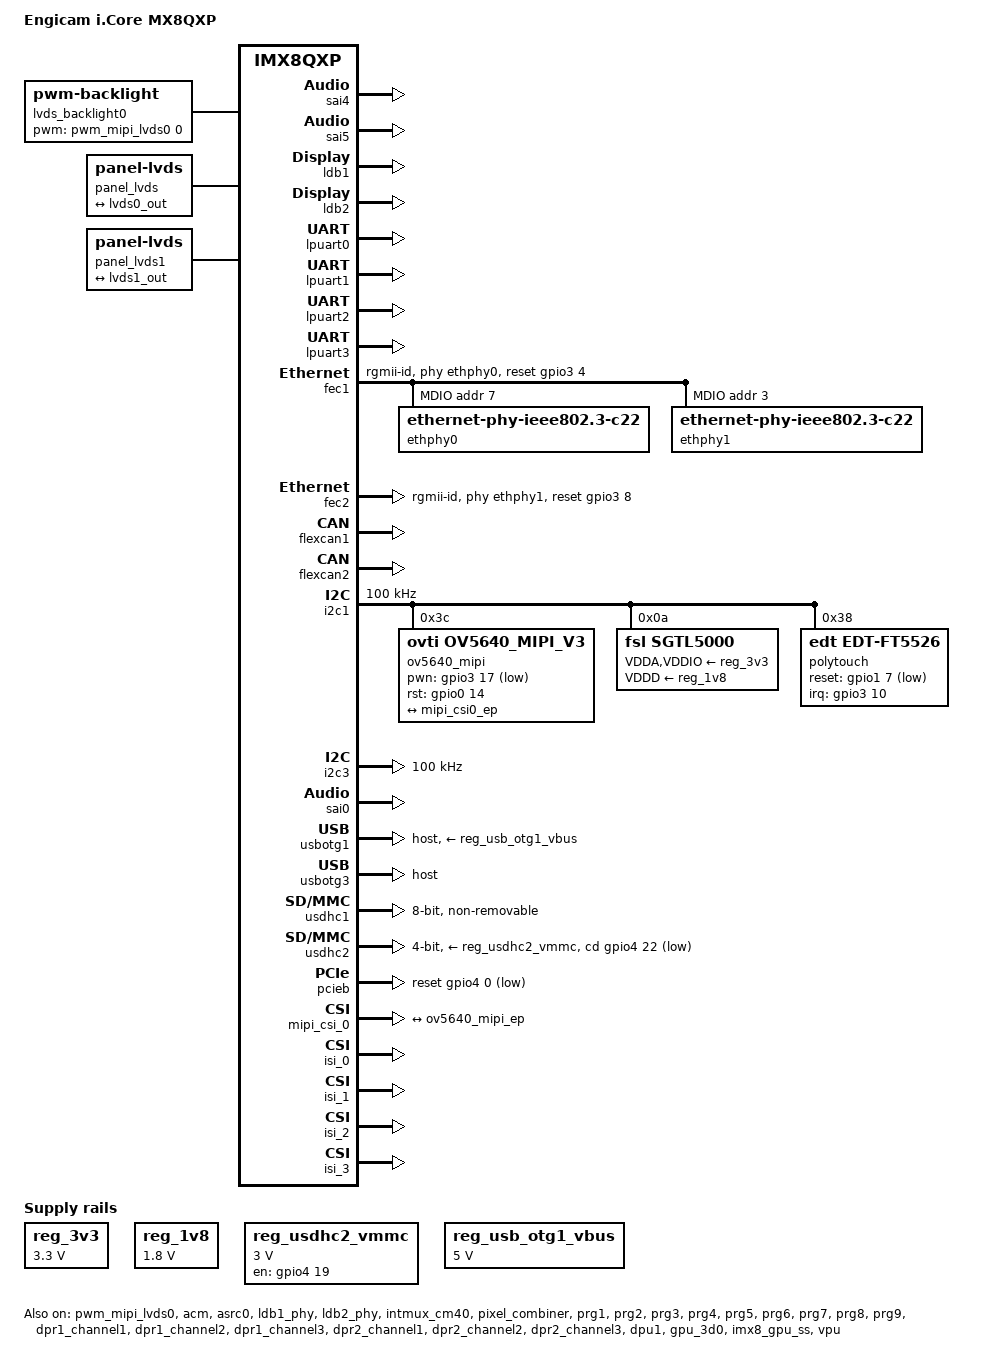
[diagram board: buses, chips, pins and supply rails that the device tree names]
/*
 * Copyright 2017 NXP
 *
 * This program is free software; you can redistribute it and/or
 * modify it under the terms of the GNU General Public License
 * as published by the Free Software Foundation; either version 2
 * of the License, or (at your option) any later version.
 *
 * This program is distributed in the hope that it will be useful,
 * but WITHOUT ANY WARRANTY; without even the implied warranty of
 * MERCHANTABILITY or FITNESS FOR A PARTICULAR PURPOSE.  See the
 * GNU General Public License for more details.
 */

/dts-v1/;

#include "../freescale/fsl-imx8qxp.dtsi"

/ {
	model = "Engicam i.Core MX8QXP";
	compatible = "engi,imx8qxp-icore", "fsl,imx8qxp-mek", "fsl,imx8qxp";

	chosen {
		bootargs = "console=ttyLP0,115200 earlycon=lpuart32,0x5a060000,115200";
		stdout-path = &lpuart0;
	};
  
	lvds_backlight0: lvds_backlight@0 {
		compatible = "pwm-backlight";
		pwms = <&pwm_mipi_lvds0 0 100000 0>;
		brightness-levels = <0 4 8 16 32 64 128 255>;
		default-brightness-level = <6>;
	};
    
	bcmdhd_wlan_0: bcmdhd_wlan@0 {
		compatible = "android,bcmdhd_wlan";
		bcmdhd_fw = "/lib/firmware/bcm/1FD_BCM89359/fw_bcmdhd.bin";
		bcmdhd_nv = "/lib/firmware/bcm/1FD_BCM89359/bcmdhd.cal";
	};

	regulators {
		compatible = "simple-bus";
		#address-cells = <1>;
		#size-cells = <0>;

		reg_3v3: regulator-3v3 {
			compatible = "regulator-fixed";
			regulator-name = "3v3";
			regulator-min-microvolt = <3300000>;
			regulator-max-microvolt = <3300000>;
			regulator-always-on;
		};

		reg_1v8: regulator-1v8 {
			compatible = "regulator-fixed";
			regulator-name = "1v8";
			regulator-min-microvolt = <1800000>;
			regulator-max-microvolt = <1800000>;
			regulator-always-on;
		};

		reg_usdhc2_vmmc: usdhc2_vmmc {
			compatible = "regulator-fixed";
			regulator-name = "SD1_SPWR";
			regulator-min-microvolt = <3000000>;
			regulator-max-microvolt = <3000000>;
			gpio = <&gpio4 19 GPIO_ACTIVE_HIGH>;
			enable-active-high;
		};

		reg_usb_otg1_vbus: regulator@0 {
			compatible = "regulator-fixed";
			reg = <0>;
			regulator-name = "usb_otg1_vbus";
			regulator-min-microvolt = <5000000>;
			regulator-max-microvolt = <5000000>;
			regulator-always-on;
		};

	};

  sound {
        compatible = "simple-audio-card";
        simple-audio-card,name = "imx8qxp-sgtl5000";
        simple-audio-card,format = "i2s";
        simple-audio-card,bitclock-master = <&dailink_master>;
        simple-audio-card,frame-master = <&dailink_master>;
        /*simple-audio-card,mclk-fs = <1>;*/
        simple-audio-card,cpu {
                sound-dai = <&sai0>;
        };

        dailink_master: simple-audio-card,codec {
            sound-dai = <&sgtl5000>;
    		clocks = <&clk IMX8QXP_AUD_MCLKOUT0>;
        };   
    };

	sound-amix-sai {
		compatible = "fsl,imx-audio-amix";
		model = "amix-audio-sai";
		dais = <&sai4>, <&sai5>;
		amix-controller = <&amix>;
	};

	panel_lvds: panel-lvds {
		compatible = "panel-lvds";

		width-mm = <210>;
		height-mm = <158>;
		data-mapping = "vesa-24";
		status = "okay";

		panel-timing {
			/* 1024x600 @65Hz */
			clock-frequency = <65000000>;
			hactive = <1024>;
			vactive = <600>;
			hsync-len = <136>;
			hfront-porch = <20>;
			hback-porch = <160>;
			vfront-porch = <3>;
			vback-porch = <29>;
			vsync-len = <6>;
		};

		port {
			panel_in_lvds: endpoint {
				remote-endpoint = <&lvds0_out>;
			};
		};
	};

	panel_lvds1: panel-lvds1 {
		compatible = "panel-lvds";

		width-mm = <210>;
		height-mm = <158>;
		data-mapping = "jeida-24";
		status = "okay";

		panel-timing {
			/* 1024x800 @65Hz */
			clock-frequency = <65000000>;
			hactive = <1024>;
			vactive = <800>;
			hsync-len = <136>;
			hfront-porch = <20>;
			hback-porch = <160>;
			vfront-porch = <3>;
			vback-porch = <29>;
			vsync-len = <6>;
		};

		port {
			panel_in_lvds1: endpoint {
				remote-endpoint = <&lvds1_out>;
			};
		};
	};

};

&pwm_mipi_lvds0 {
	pinctrl-names = "default";
	pinctrl-0 = <&pinctrl_pwm_mipi_lvds0>;
	status = "okay";
};

&acm {
	status = "okay";
};

&amix {
	status = "disabled";    // TBD MM da capire
};

&asrc0 {
	fsl,asrc-rate  = <48000>;
	status = "okay";
};

&sai4 {
	assigned-clocks = <&clk IMX8QXP_ACM_SAI4_MCLK_SEL>,
			<&clk IMX8QXP_AUD_PLL1_DIV>,
			<&clk IMX8QXP_AUD_ACM_AUD_PLL_CLK1_DIV>,
			<&clk IMX8QXP_AUD_ACM_AUD_REC_CLK1_DIV>,
			<&clk IMX8QXP_AUD_SAI_4_MCLK>;
	assigned-clock-parents = <&clk IMX8QXP_AUD_ACM_AUD_PLL_CLK1_CLK>;
	assigned-clock-rates = <0>, <786432000>, <98304000>, <12288000>, <98304000>;
	fsl,sai-asynchronous;
	fsl,txm-rxs;
	status = "okay";
};

&sai5 {
	assigned-clocks = <&clk IMX8QXP_ACM_SAI5_MCLK_SEL>,
			<&clk IMX8QXP_AUD_PLL1_DIV>,
			<&clk IMX8QXP_AUD_ACM_AUD_PLL_CLK1_DIV>,
			<&clk IMX8QXP_AUD_ACM_AUD_REC_CLK1_DIV>,
			<&clk IMX8QXP_AUD_SAI_5_MCLK>;
	assigned-clock-parents = <&clk IMX8QXP_AUD_ACM_AUD_PLL_CLK1_CLK>;
	assigned-clock-rates = <0>, <786432000>, <98304000>, <12288000>, <98304000>;
	fsl,sai-asynchronous;
	fsl,txm-rxs;
	status = "okay";
};

&ldb1_phy {
	status = "okay";
};

&ldb1 {
	status = "okay";
   	pinctrl-assert-gpios = <&gpio1 27 GPIO_ACTIVE_HIGH>;
	power-domains = <&pd_mipi_dsi_0_dual_lvds>;


	lvds-channel@0 {
		fsl,data-mapping = "spwg";
		fsl,data-width = <24>;
		status = "okay";

		port@1 {
			reg = <1>;

			lvds0_out: endpoint {
                remote-endpoint = <&panel_in_lvds>;
			};
		};
	};
};

&ldb2_phy {
	status = "okay";
};

&ldb2 {
	status = "okay";
   	pinctrl-assert-gpios = <&gpio1 31 GPIO_ACTIVE_HIGH>;


	lvds-channel@0 {
		fsl,data-mapping = "jeida";
		fsl,data-width = <24>;
		status = "okay";

		port@1 {
			reg = <1>;

			lvds1_out: endpoint {
				remote-endpoint = <&panel_in_lvds1>;
			};
		};
	};
};

&iomuxc {
	pinctrl-names = "default";
	pinctrl-0 = <&pinctrl_hog>;

	imx8qxp-mek {

    pinctrl_mipi_csi0: mipicsi0grp{
			fsl,pins = <
				//SC_P_MIPI_CSI0_MCLK_OUT_MIPI_CSI0_ACM_MCLK_OUT	0xC0000041
				SC_P_SPI3_SDO_LSIO_GPIO0_IO14		0xC0000041
				SC_P_QSPI0B_SCLK_LSIO_GPIO3_IO17		0xC0000041
			>;
		};    
    
		pinctrl_hog: hoggrp {
			fsl,pins = <
				SC_P_MCLK_OUT0_ADMA_ACM_MCLK_OUT0	0x0600004c
       // SC_P_MIPI_DSI0_GPIO0_00_LSIO_GPIO1_IO27 0x06000020 /* backligth LVDS0 */
        SC_P_MIPI_DSI1_GPIO0_00_LSIO_GPIO1_IO31 0x06000020 /* backligth LVDS1 */
        SC_P_MIPI_CSI0_MCLK_OUT_LSIO_GPIO3_IO04 0x06000020 /* RGMII reset */
        SC_P_MIPI_CSI0_GPIO0_00_LSIO_GPIO3_IO08 0x06000020 /* TDB MM RGMII2 reset */
        SC_P_QSPI0B_DATA3_LSIO_GPIO3_IO21 0x06000020 /* TDB MM USB HUB reset */
			>;
		};

		pinctrl_touch1: touch1_intgrp {
			fsl,pins = <
				SC_P_QSPI0A_DATA1_LSIO_GPIO3_IO10	0x06000020
				SC_P_SPI0_CS1_LSIO_GPIO1_IO07 		0x06000020
			>;
		};

		pinctrl_csi0_lpi2c0: csi0lpi2c0grp {
			fsl,pins = <
				SC_P_MIPI_CSI0_I2C0_SCL_MIPI_CSI0_I2C0_SCL	0xc2000020
				SC_P_MIPI_CSI0_I2C0_SDA_MIPI_CSI0_I2C0_SDA	0xc2000020
			>;
		};

		pinctrl_lpuart0: lpuart0grp {
			fsl,pins = <
				SC_P_UART0_RX_ADMA_UART0_RX	0x06000020
				SC_P_UART0_TX_ADMA_UART0_TX	0x06000020
			>;
		};

		pinctrl_lpuart1: lpuart1grp {
			fsl,pins = <
				SC_P_UART1_TX_ADMA_UART1_TX		0x06000020
				SC_P_UART1_RX_ADMA_UART1_RX		0x06000020
				SC_P_UART1_RTS_B_ADMA_UART1_RTS_B	0x06000020
				SC_P_UART1_CTS_B_ADMA_UART1_CTS_B	0x06000020
			>;
		};

		pinctrl_lpuart2: lpuart2grp {
			fsl,pins = <
				SC_P_UART2_TX_ADMA_UART2_TX	0x06000020
				SC_P_UART2_RX_ADMA_UART2_RX	0x06000020
			>;
		};

		pinctrl_lpuart3: lpuart3grp {
			fsl,pins = <
				SC_P_FLEXCAN2_TX_ADMA_UART3_TX	0x06000020
				SC_P_FLEXCAN2_RX_ADMA_UART3_RX	0x06000020
			>;
		};

		pinctrl_fec1: fec1grp {
			fsl,pins = <
				SC_P_ENET0_MDC_CONN_ENET0_MDC			0x06000020
				SC_P_ENET0_MDIO_CONN_ENET0_MDIO			0x06000020
				SC_P_ENET0_RGMII_TX_CTL_CONN_ENET0_RGMII_TX_CTL	0x06000020
				SC_P_ENET0_RGMII_TXC_CONN_ENET0_RGMII_TXC	0x06000020
				SC_P_ENET0_RGMII_TXD0_CONN_ENET0_RGMII_TXD0	0x06000020
				SC_P_ENET0_RGMII_TXD1_CONN_ENET0_RGMII_TXD1	0x06000020
				SC_P_ENET0_RGMII_TXD2_CONN_ENET0_RGMII_TXD2	0x06000020
				SC_P_ENET0_RGMII_TXD3_CONN_ENET0_RGMII_TXD3	0x06000020
				SC_P_ENET0_RGMII_RXC_CONN_ENET0_RGMII_RXC	0x06000020
				SC_P_ENET0_RGMII_RX_CTL_CONN_ENET0_RGMII_RX_CTL	0x06000020
				SC_P_ENET0_RGMII_RXD0_CONN_ENET0_RGMII_RXD0	0x06000020
				SC_P_ENET0_RGMII_RXD1_CONN_ENET0_RGMII_RXD1	0x06000020
				SC_P_ENET0_RGMII_RXD2_CONN_ENET0_RGMII_RXD2	0x06000020
				SC_P_ENET0_RGMII_RXD3_CONN_ENET0_RGMII_RXD3	0x06000020
			>;
		};

		pinctrl_fec2: fec2grp {
			fsl,pins = <
				SC_P_ESAI0_SCKR_CONN_ENET1_RGMII_TX_CTL		0x06000020
				SC_P_ESAI0_FSR_CONN_ENET1_RGMII_TXC		0x06000020
				SC_P_ESAI0_TX4_RX1_CONN_ENET1_RGMII_TXD0	0x06000020
				SC_P_ESAI0_TX5_RX0_CONN_ENET1_RGMII_TXD1	0x06000020
				SC_P_ESAI0_FST_CONN_ENET1_RGMII_TXD2		0x06000020
				SC_P_ESAI0_SCKT_CONN_ENET1_RGMII_TXD3		0x06000020
				SC_P_ESAI0_TX0_CONN_ENET1_RGMII_RXC		0x06000020
				SC_P_SPDIF0_TX_CONN_ENET1_RGMII_RX_CTL		0x06000020
				SC_P_SPDIF0_RX_CONN_ENET1_RGMII_RXD0		0x06000020
				SC_P_ESAI0_TX3_RX2_CONN_ENET1_RGMII_RXD1	0x06000020
				SC_P_ESAI0_TX2_RX3_CONN_ENET1_RGMII_RXD2	0x06000020
				SC_P_ESAI0_TX1_CONN_ENET1_RGMII_RXD3		0x06000020
			>;
		};

		pinctrl_flexcan1: flexcan0grp {
			fsl,pins = <
				SC_P_FLEXCAN0_TX_ADMA_FLEXCAN0_TX		0x21
				SC_P_FLEXCAN0_RX_ADMA_FLEXCAN0_RX		0x21
			>;
		};

		pinctrl_flexcan2: flexcan1grp {
			fsl,pins = <
				SC_P_FLEXCAN1_TX_ADMA_FLEXCAN1_TX		0x21
				SC_P_FLEXCAN1_RX_ADMA_FLEXCAN1_RX		0x21
			>;
		};

		pinctrl_flexspi0: flexspi0grp {
			fsl,pins = <
				SC_P_QSPI0A_DATA0_LSIO_QSPI0A_DATA0	0x0600004c
				SC_P_QSPI0A_DATA1_LSIO_QSPI0A_DATA1	0x0600004c
				SC_P_QSPI0A_DATA2_LSIO_QSPI0A_DATA2	0x0600004c
				SC_P_QSPI0A_DATA3_LSIO_QSPI0A_DATA3	0x0600004c
				SC_P_QSPI0A_DQS_LSIO_QSPI0A_DQS		0x0600004c
				SC_P_QSPI0A_SS0_B_LSIO_QSPI0A_SS0_B	0x0600004c
				SC_P_QSPI0A_SS1_B_LSIO_QSPI0A_SS1_B	0x0600004c
				SC_P_QSPI0A_SCLK_LSIO_QSPI0A_SCLK	0x0600004c
				SC_P_QSPI0B_SCLK_LSIO_QSPI0B_SCLK	0x0600004c
				SC_P_QSPI0B_DATA0_LSIO_QSPI0B_DATA0	0x0600004c
				SC_P_QSPI0B_DATA1_LSIO_QSPI0B_DATA1	0x0600004c
				SC_P_QSPI0B_DATA2_LSIO_QSPI0B_DATA2	0x0600004c
				SC_P_QSPI0B_DATA3_LSIO_QSPI0B_DATA3	0x0600004c
				SC_P_QSPI0B_DQS_LSIO_QSPI0B_DQS		0x0600004c
				SC_P_QSPI0B_SS0_B_LSIO_QSPI0B_SS0_B	0x0600004c
				SC_P_QSPI0B_SS1_B_LSIO_QSPI0B_SS1_B	0x0600004c
			>;
		};

		pinctrl_cm40_i2c: cm40i2cgrp {
			fsl,pins = <
				SC_P_ADC_IN1_M40_I2C0_SDA	0x0600004c
				SC_P_ADC_IN0_M40_I2C0_SCL	0x0600004c
			>;
		};

		pinctrl_ioexp_rst: ioexp_rst_grp {
			fsl,pins = <
				SC_P_SPI2_SDO_LSIO_GPIO1_IO01	0x06000021
			>;
		};

		pinctrl_i2c0_mipi_lvds0: mipi_lvds0_i2c0_grp {
			fsl,pins = <
				SC_P_MIPI_DSI0_I2C0_SCL_MIPI_DSI0_I2C0_SCL 0xc6000020
				SC_P_MIPI_DSI0_I2C0_SDA_MIPI_DSI0_I2C0_SDA 0xc6000020
			>;
		};

		pinctrl_i2c0_mipi_lvds1: mipi_lvds1_i2c0_grp {
			fsl,pins = <
				SC_P_MIPI_DSI1_I2C0_SCL_MIPI_DSI1_I2C0_SCL 0xc6000020
				SC_P_MIPI_DSI1_I2C0_SDA_MIPI_DSI1_I2C0_SDA 0xc6000020
			>;
		};

		pinctrl_isl29023: isl29023grp {
			fsl,pins = <
				SC_P_SPI2_SDI_LSIO_GPIO1_IO02	0x00000021
			>;
		};

		pinctrl_lpi2c1: lpi1cgrp {
			fsl,pins = <
				SC_P_USB_SS3_TC1_ADMA_I2C1_SCL	0x06000020
				SC_P_USB_SS3_TC3_ADMA_I2C1_SDA	0x06000020
			>;
		};

		pinctrl_lpi2c3: lpi2cgrp {
			fsl,pins = <
				SC_P_SPI3_CS1_ADMA_I2C3_SCL	0x06000020
				SC_P_MCLK_IN1_ADMA_I2C3_SDA	0x06000020
			>;
		};
    
		pinctrl_sai0: sai0grp {
			fsl,pins = <
				SC_P_SAI0_RXD_ADMA_SAI0_RXD	0x0600004c
				SC_P_SAI0_TXC_ADMA_SAI0_TXC	0x0600004c
				SC_P_SAI0_TXFS_ADMA_SAI0_TXFS	0x0600004c
				SC_P_SAI0_TXD_ADMA_SAI0_TXD	0x0600006c
			>;
		};

		pinctrl_usdhc1: usdhc1grp {
			fsl,pins = <
				SC_P_EMMC0_CLK_CONN_EMMC0_CLK		0x06000041
				SC_P_EMMC0_CMD_CONN_EMMC0_CMD		0x00000021
				SC_P_EMMC0_DATA0_CONN_EMMC0_DATA0	0x00000021
				SC_P_EMMC0_DATA1_CONN_EMMC0_DATA1	0x00000021
				SC_P_EMMC0_DATA2_CONN_EMMC0_DATA2	0x00000021
				SC_P_EMMC0_DATA3_CONN_EMMC0_DATA3	0x00000021
				SC_P_EMMC0_DATA4_CONN_EMMC0_DATA4	0x00000021
				SC_P_EMMC0_DATA5_CONN_EMMC0_DATA5	0x00000021
				SC_P_EMMC0_DATA6_CONN_EMMC0_DATA6	0x00000021
				SC_P_EMMC0_DATA7_CONN_EMMC0_DATA7	0x00000021
				SC_P_EMMC0_STROBE_CONN_EMMC0_STROBE	0x06000041
			>;
		};

		pinctrl_typec: typecgrp {
			fsl,pins = <
				SC_P_ENET0_REFCLK_125M_25M_LSIO_GPIO5_IO09	0x60
				SC_P_SPI2_SCK_LSIO_GPIO1_IO03			0x06000021
			>;
		};

		pinctrl_usdhc1_100mhz: usdhc1grp100mhz {
			fsl,pins = <
				SC_P_EMMC0_CLK_CONN_EMMC0_CLK		0x06000040
				SC_P_EMMC0_CMD_CONN_EMMC0_CMD		0x00000020
				SC_P_EMMC0_DATA0_CONN_EMMC0_DATA0	0x00000020
				SC_P_EMMC0_DATA1_CONN_EMMC0_DATA1	0x00000020
				SC_P_EMMC0_DATA2_CONN_EMMC0_DATA2	0x00000020
				SC_P_EMMC0_DATA3_CONN_EMMC0_DATA3	0x00000020
				SC_P_EMMC0_DATA4_CONN_EMMC0_DATA4	0x00000020
				SC_P_EMMC0_DATA5_CONN_EMMC0_DATA5	0x00000020
				SC_P_EMMC0_DATA6_CONN_EMMC0_DATA6	0x00000020
				SC_P_EMMC0_DATA7_CONN_EMMC0_DATA7	0x00000020
				SC_P_EMMC0_STROBE_CONN_EMMC0_STROBE	0x06000040
			>;
		};

		pinctrl_usdhc1_200mhz: usdhc1grp200mhz {
			fsl,pins = <
				SC_P_EMMC0_CLK_CONN_EMMC0_CLK		0x06000040
				SC_P_EMMC0_CMD_CONN_EMMC0_CMD		0x00000020
				SC_P_EMMC0_DATA0_CONN_EMMC0_DATA0	0x00000020
				SC_P_EMMC0_DATA1_CONN_EMMC0_DATA1	0x00000020
				SC_P_EMMC0_DATA2_CONN_EMMC0_DATA2	0x00000020
				SC_P_EMMC0_DATA3_CONN_EMMC0_DATA3	0x00000020
				SC_P_EMMC0_DATA4_CONN_EMMC0_DATA4	0x00000020
				SC_P_EMMC0_DATA5_CONN_EMMC0_DATA5	0x00000020
				SC_P_EMMC0_DATA6_CONN_EMMC0_DATA6	0x00000020
				SC_P_EMMC0_DATA7_CONN_EMMC0_DATA7	0x00000020
				SC_P_EMMC0_STROBE_CONN_EMMC0_STROBE	0x06000040
			>;
		};

		pinctrl_usdhc2_gpio: usdhc2gpiogrp {
			fsl,pins = <
				SC_P_USDHC1_RESET_B_LSIO_GPIO4_IO19	0x06000021
				SC_P_USDHC1_WP_LSIO_GPIO4_IO21		0x06000021
				SC_P_USDHC1_CD_B_LSIO_GPIO4_IO22	0x06000021
			>;
		};

		pinctrl_usdhc2: usdhc2grp {
			fsl,pins = <
				SC_P_USDHC1_CLK_CONN_USDHC1_CLK		0x06000041
				SC_P_USDHC1_CMD_CONN_USDHC1_CMD		0x06000021
				SC_P_USDHC1_DATA0_CONN_USDHC1_DATA0	0x06000021
				SC_P_USDHC1_DATA1_CONN_USDHC1_DATA1	0x06000021
				SC_P_USDHC1_DATA2_CONN_USDHC1_DATA2	0x06000021
				SC_P_USDHC1_DATA3_CONN_USDHC1_DATA3	0x06000021
				SC_P_USDHC1_VSELECT_CONN_USDHC1_VSELECT	0x06000021
			>;
		};

		pinctrl_usdhc2_100mhz: usdhc2grp100mhz {
			fsl,pins = <
				SC_P_USDHC1_CLK_CONN_USDHC1_CLK		0x06000040
				SC_P_USDHC1_CMD_CONN_USDHC1_CMD		0x06000020
				SC_P_USDHC1_DATA0_CONN_USDHC1_DATA0	0x06000020
				SC_P_USDHC1_DATA1_CONN_USDHC1_DATA1	0x06000020
				SC_P_USDHC1_DATA2_CONN_USDHC1_DATA2	0x06000020
				SC_P_USDHC1_DATA3_CONN_USDHC1_DATA3	0x06000020
				SC_P_USDHC1_VSELECT_CONN_USDHC1_VSELECT	0x06000020
			>;
		};

		pinctrl_usdhc2_200mhz: usdhc2grp200mhz {
			fsl,pins = <
				SC_P_USDHC1_CLK_CONN_USDHC1_CLK		0x06000040
				SC_P_USDHC1_CMD_CONN_USDHC1_CMD		0x06000020
				SC_P_USDHC1_DATA0_CONN_USDHC1_DATA0	0x06000020
				SC_P_USDHC1_DATA1_CONN_USDHC1_DATA1	0x06000020
				SC_P_USDHC1_DATA2_CONN_USDHC1_DATA2	0x06000020
				SC_P_USDHC1_DATA3_CONN_USDHC1_DATA3	0x06000020
				SC_P_USDHC1_VSELECT_CONN_USDHC1_VSELECT	0x06000020
			>;
		};

		pinctrl_pcieb: pcieagrp{
			fsl,pins = <
				SC_P_PCIE_CTRL0_PERST_B_LSIO_GPIO4_IO00		0x06000021
				SC_P_PCIE_CTRL0_CLKREQ_B_LSIO_GPIO4_IO01	0x06000021
				SC_P_PCIE_CTRL0_WAKE_B_LSIO_GPIO4_IO02		0x06000021
			>;
		};
    
		pinctrl_pwm_mipi_lvds0: mipi_lvds0_pwm_grp {
			fsl,pins = <
				SC_P_MIPI_DSI0_GPIO0_00_MIPI_DSI0_PWM0_OUT	0x00000020
			>;
		};    
    
	};
};

&pd_dma_lpuart0 {
	debug_console;
};

&lpuart0 {
	pinctrl-names = "default";
	pinctrl-0 = <&pinctrl_lpuart0>;
	status = "okay";
};

&lpuart1 {
	pinctrl-names = "default";
	pinctrl-0 = <&pinctrl_lpuart1>;
    fsl,uart-has-rtscts;
//	resets = <&modem_reset>;
	status = "okay";
};

&lpuart2 {
	pinctrl-names = "default";
	pinctrl-0 = <&pinctrl_lpuart2>;
	status = "okay";
};

&lpuart3 {
	pinctrl-names = "default";
	pinctrl-0 = <&pinctrl_lpuart3>;
	status = "okay";
};

&fec1 {
	pinctrl-names = "default";
	pinctrl-0 = <&pinctrl_fec1>;
	phy-mode = "rgmii-id";
	phy-handle = <&ethphy0>;
	fsl,magic-packet;
   	reset-gpio = <&gpio3 4 GPIO_ACTIVE_HIGH>; /* MM */
	status = "okay";

	mdio {
		#address-cells = <1>;
		#size-cells = <0>;

		ethphy0: ethernet-phy@0 {
			compatible = "ethernet-phy-ieee802.3-c22";
			reg = <7>;
			at803x,eee-disabled;
			at803x,vddio-1p8v;
		};

		ethphy1: ethernet-phy@1 {
			compatible = "ethernet-phy-ieee802.3-c22";
			reg = <3>;
			at803x,eee-disabled;
			at803x,vddio-1p8v;
		};
	};
};

&fec2 {
	pinctrl-names = "default";
	pinctrl-0 = <&pinctrl_fec2>;
	phy-mode = "rgmii-id";
	phy-handle = <&ethphy1>;
	fsl,magic-packet;
   	reset-gpio = <&gpio3 8 GPIO_ACTIVE_HIGH>; /* MM */
	status = "okay";
};

&flexcan1 {
	pinctrl-names = "default";
	pinctrl-0 = <&pinctrl_flexcan1>;
//	xceiver-supply = <&reg_can_stby>;
	status = "okay";
};

&flexcan2 {
	pinctrl-names = "default";
	pinctrl-0 = <&pinctrl_flexcan2>;
//	xceiver-supply = <&reg_can_stby>;
	status = "okay";
};

&intmux_cm40 {
	status = "okay";
};

/*&i2c0_cm40 {
	#address-cells = <1>;
	#size-cells = <0>;
	clock-frequency = <100000>;
	pinctrl-names = "default";
	pinctrl-0 = <&pinctrl_cm40_i2c>;
	status = "okay";

};*/

&i2c1 {
	#address-cells = <1>;
	#size-cells = <0>;
	clock-frequency = <100000>;
	pinctrl-names = "default";
	pinctrl-0 = <&pinctrl_lpi2c1>;
	status = "okay";

  ov5640_mipi: ov5640_mipi@3c {
		compatible = "ovti,ov5640_mipi_v3";
		reg = <0x3c>;
		pinctrl-names = "default";
		pinctrl-0 = <&pinctrl_mipi_csi0>;
		clocks = <&clk IMX8QXP_24MHZ>;
		clock-names = "csi_mclk";
		csi_id = <0>;
		pwn-gpios = <&gpio3 17 GPIO_ACTIVE_LOW>;
		rst-gpios = <&gpio0 14 GPIO_ACTIVE_HIGH>;
		mclk = <24000000>;
		mclk_source = <0>;
		mipi_csi;
		status = "okay";
		port {
			ov5640_mipi_ep: endpoint {
				remote-endpoint = <&mipi_csi0_ep>;
			};
		};
	};
  
    sgtl5000: codec@a {
            compatible = "fsl,sgtl5000";
            status = "okay";
            #sound-dai-cells = <0>;
//            pinctrl-names = "default";
//            pinctrl-0 = <&pinctrl_sgtl5000>;
            reg = <0x0a>;
		    clocks = <&clk IMX8QXP_AUD_MCLKOUT0>;
		    clock-names = "mclk";
		    power-domains = <&pd_mclk_out0>;
		    assigned-clocks = <&clk IMX8QXP_AUD_PLL0_DIV>,
				<&clk IMX8QXP_AUD_ACM_AUD_PLL_CLK0_DIV>,
				<&clk IMX8QXP_AUD_ACM_AUD_REC_CLK0_DIV>,
				<&clk IMX8QXP_AUD_MCLKOUT0>;
		    assigned-clock-rates = <786432000>, <49152000>, <12288000>, <12288000>;
            VDDA-supply = <&reg_3v3>;
            VDDIO-supply = <&reg_3v3>;
            VDDD-supply = <&reg_1v8>;
    };

    polytouch: edt-ft5x26@38 {
                compatible = "edt,edt-ft5526";
                reg = <0x38>;
                pinctrl-names = "default";
                pinctrl-0 = <&pinctrl_touch1>;
                interrupt-parent = <&gpio3>;
                interrupts = <10 IRQ_TYPE_EDGE_FALLING>;
                reset-gpios= <&gpio1 7 GPIO_ACTIVE_LOW>;
    };

};

&i2c3 {
	#address-cells = <1>;
	#size-cells = <0>;
	clock-frequency = <100000>;
	pinctrl-names = "default";
	pinctrl-0 = <&pinctrl_lpi2c3>;
	status = "okay";
};
  
&sai0 {
	assigned-clocks = <&clk IMX8QXP_AUD_PLL0_DIV>,
			<&clk IMX8QXP_AUD_ACM_AUD_PLL_CLK0_DIV>,
			<&clk IMX8QXP_AUD_ACM_AUD_REC_CLK0_DIV>,
			<&clk IMX8QXP_AUD_SAI_0_MCLK>;
	assigned-clock-rates = <786432000>, <49152000>, <12288000>, <49152000>;
	pinctrl-names = "default";
	pinctrl-0 = <&pinctrl_sai0>;
    #sound-dai-cells = <0>;
	status = "okay";
};

&usbotg1 {
	vbus-supply = <&reg_usb_otg1_vbus>;
   	pinctrl-assert-gpios = <&gpio3 21 GPIO_ACTIVE_HIGH>; /* TBD da sistemare MM */
	srp-disable;
	hnp-disable;
	adp-disable;
	power-polarity-active-high;
	disable-over-current;
	dr_mode = "host";
	status = "okay";
};

/* Only enable it and ptn5110 after rework U182 */
&usbotg3 {
	dr_mode = "host";
//	extcon = <&typec_ptn5110>;
	status = "okay";
};

&usdhc1 {
	pinctrl-names = "default", "state_100mhz", "state_200mhz";
	pinctrl-0 = <&pinctrl_usdhc1>;
	pinctrl-1 = <&pinctrl_usdhc1_100mhz>;
	pinctrl-2 = <&pinctrl_usdhc1_200mhz>;
	bus-width = <8>;
	non-removable;
	status = "okay";
};

&usdhc2 {
	pinctrl-names = "default", "state_100mhz", "state_200mhz";
	pinctrl-0 = <&pinctrl_usdhc2>, <&pinctrl_usdhc2_gpio>;
	pinctrl-1 = <&pinctrl_usdhc2_100mhz>, <&pinctrl_usdhc2_gpio>;
	pinctrl-2 = <&pinctrl_usdhc2_200mhz>, <&pinctrl_usdhc2_gpio>;
	bus-width = <4>;
	cd-gpios = <&gpio4 22 GPIO_ACTIVE_LOW>;
//	wp-gpios = <&gpio4 21 GPIO_ACTIVE_HIGH>;
//	non-removable;
	vmmc-supply = <&reg_usdhc2_vmmc>;
	status = "okay";
};

&pcieb{
	ext_osc = <1>;
	pinctrl-names = "default";
	pinctrl-0 = <&pinctrl_pcieb>;
	clkreq-gpio = <&gpio4 1 GPIO_ACTIVE_LOW>;
	reset-gpio = <&gpio4 0 GPIO_ACTIVE_LOW>;
	status = "okay";
};

&pixel_combiner {
	status = "okay";
};

&prg1 {
	status = "okay";
};

&prg2 {
	status = "okay";
};

&prg3 {
	status = "okay";
};

&prg4 {
	status = "okay";
};

&prg5 {
	status = "okay";
};

&prg6 {
	status = "okay";
};

&prg7 {
	status = "okay";
};

&prg8 {
	status = "okay";
};

&prg9 {
	status = "okay";
};

&dpr1_channel1 {
	status = "okay";
};

&dpr1_channel2 {
	status = "okay";
};

&dpr1_channel3 {
	status = "okay";
};

&dpr2_channel1 {
	status = "okay";
};

&dpr2_channel2 {
	status = "okay";
};

&dpr2_channel3 {
	status = "okay";
};

&dpu1 {
	status = "okay";
};

&gpu_3d0 {
	status = "okay";
};

&imx8_gpu_ss {
	status = "okay";
};

&mipi_csi_0 {
  #address-cells = <1>;
	#size-cells = <0>;
	status = "okay";

	port@0 {
		reg = <0>;
		mipi_csi0_ep: endpoint {
			remote-endpoint = <&ov5640_mipi_ep>;
			data-lanes = <1 2>;
		};
	};
};

&isi_0 {
	status = "okay";
};

&isi_1 {
	status = "okay";
};

&isi_2 {
	status = "okay";
};

&isi_3 {
	status = "okay";
};

/*&i2c0_csi0 {
	#address-cells = <1>;
	#size-cells = <0>;
	pinctrl-names = "default";
	pinctrl-0 = <&pinctrl_csi0_lpi2c0>;
	clock-frequency = <100000>;
	status = "okay";

	max9286_mipi@6A	 {
		compatible = "maxim,max9286_mipi";
		reg = <0x6A>;
		clocks = <&clk IMX8QXP_CLK_DUMMY>;
		clock-names = "capture_mclk";
		mclk = <27000000>;
		mclk_source = <0>;
		virtual-channel;
		status = "okay";
		port {
			max9286_0_ep: endpoint {
			remote-endpoint = <&mipi_csi0_ep>;
			data-lanes = <1 2 3 4>;
			};
		};
	};
};*/

&vpu {
	status = "okay";
};

